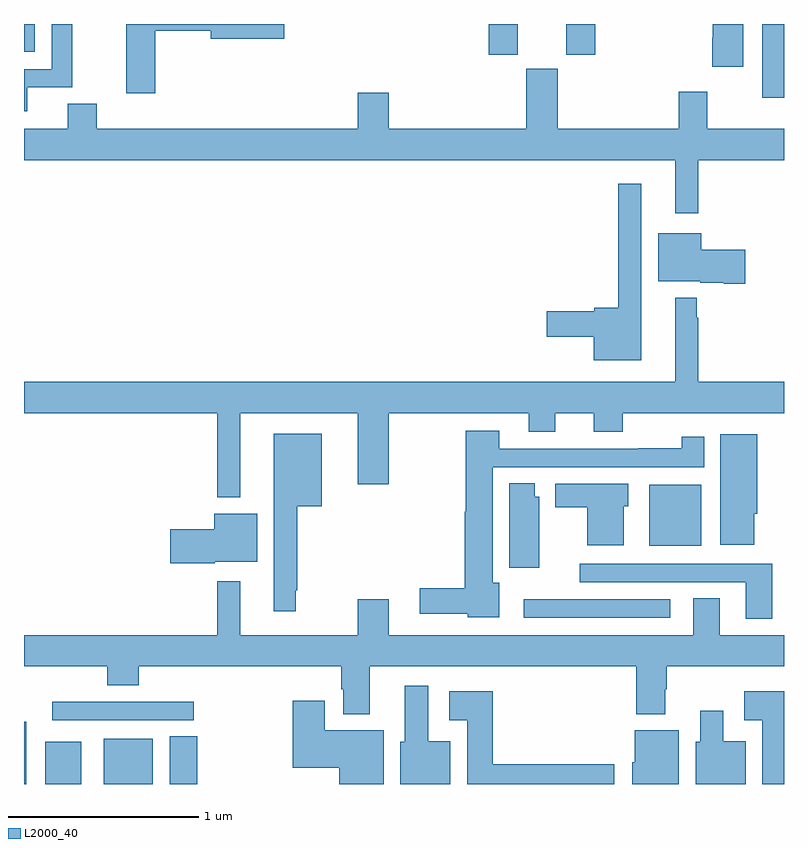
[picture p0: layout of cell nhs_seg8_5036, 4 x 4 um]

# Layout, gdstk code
import gdstk
lib = gdstk.Library(unit=1e-6, precision=1e-09)
def R(c, l, rs):  # rectangles x0, y0, x1, y1
    for r in rs: c.add(gdstk.rectangle(r[:2], r[2:], *l))
def P(c, l, *ps):  # polygons
    for p in ps: c.add(gdstk.Polygon(p, *l))
L2000_40 = (2000, 40)

nhs_seg8_5036 = lib.new_cell('nhs_seg8_5036')
R(nhs_seg8_5036, L2000_40, [(415,1095.9,415.012,1096.228), (415.112,1095.9,415.3,1096.123), (415.421,1095.9,415.678,1096.138), (415.766,1095.9,415.913,1096.151), (415.149,1096.236,415.894,1096.332), (417.63,1096.776,418.402,1096.872), (418.292,1097.153,418.564,1097.476), (418.886,1099.512,419,1099.9), (417.446,1099.737,417.598,1099.9), (417.854,1099.737,418.007,1099.9), (415,1099.754,415.057,1099.9)])
P(nhs_seg8_5036, L2000_40, [(418.786,1099.9),(418.624,1099.9),(418.624,1099.827),(418.622,1099.827),(418.622,1099.674),(418.786,1099.674)],
  [(415.016,1099.566),(415.255,1099.566),(415.255,1099.9),(415.146,1099.9),(415.146,1099.662),(415,1099.662),(415,1099.44),(415.016,1099.44)],
  [(415.691,1099.864),(415.982,1099.864),(415.982,1099.822),(416.371,1099.822),(416.371,1099.9),(415.537,1099.9),(415.537,1099.536),(415.691,1099.536)],
  [(418.549,1099.184),(419,1099.184),(419,1099.348),(418.597,1099.348),(418.597,1099.543),(418.445,1099.543),(418.445,1099.348),(417.808,1099.348),(417.808,1099.665),(417.644,1099.665),(417.644,1099.348),(416.92,1099.348),(416.92,1099.537),(416.756,1099.537),(416.756,1099.348),(415.382,1099.348),(415.382,1099.481),(415.229,1099.481),(415.229,1099.348),(415,1099.348),(415,1099.184),(418.427,1099.184),(418.427,1098.903),(418.549,1098.903)],
  [(418.249,1099.06),(418.128,1099.06),(418.128,1098.407),(418.002,1098.407),(418.002,1098.389),(417.75,1098.389),(417.75,1098.254),(417.998,1098.254),(417.998,1098.131),(418.249,1098.131)],
  [(418.795,1098.711),(418.564,1098.711),(418.564,1098.799),(418.337,1098.799),(418.337,1098.545),(418.56,1098.545),(418.56,1098.539),(418.682,1098.539),(418.682,1098.533),(418.795,1098.533)],
  [(416.137,1097.852),(416.756,1097.852),(416.756,1097.478),(416.92,1097.478),(416.92,1097.852),(417.656,1097.852),(417.656,1097.753),(417.796,1097.753),(417.796,1097.852),(417.998,1097.852),(417.998,1097.753),(418.151,1097.753),(418.151,1097.852),(419,1097.852),(419,1098.016),(418.549,1098.016),(418.549,1098.353),(418.541,1098.353),(418.541,1098.46),(418.427,1098.46),(418.427,1098.016),(415,1098.016),(415,1097.852),(416.016,1097.852),(416.016,1097.408),(416.137,1097.408)],
  [(417.502,1096.96),(417.466,1096.96),(417.466,1097.568),(418.579,1097.568),(418.579,1097.728),(418.462,1097.728),(418.462,1097.666),(418.234,1097.666),(418.234,1097.664),(417.502,1097.664),(417.502,1097.758),(417.325,1097.758),(417.325,1097.334),(417.32,1097.334),(417.32,1096.931),(417.084,1096.931),(417.084,1096.796),(417.336,1096.796),(417.336,1096.778),(417.502,1096.778)],
  [(416.429,1096.921),(416.437,1096.921),(416.437,1097.363),(416.566,1097.363),(416.566,1097.743),(416.315,1097.743),(416.315,1096.809),(416.429,1096.809)],
  [(418.843,1097.322),(418.858,1097.322),(418.858,1097.74),(418.664,1097.74),(418.664,1097.159),(418.843,1097.159)],
  [(417.712,1097.412),(417.688,1097.412),(417.688,1097.483),(417.554,1097.483),(417.554,1097.039),(417.712,1097.039)],
  [(418.156,1097.361),(418.18,1097.361),(418.18,1097.479),(417.797,1097.479),(417.797,1097.357),(417.965,1097.357),(417.965,1097.156),(418.156,1097.156)],
  [(416.004,1097.069),(416.227,1097.069),(416.227,1097.323),(416,1097.323),(416,1097.24),(415.77,1097.24),(415.77,1097.062),(416.004,1097.062)],
  [(418.939,1097.058),(417.924,1097.058),(417.924,1096.962),(418.799,1096.962),(418.799,1096.77),(418.939,1096.77)],
  [(416.821,1096.52),(418.223,1096.52),(418.223,1096.268),(418.375,1096.268),(418.375,1096.4),(418.383,1096.4),(418.383,1096.52),(419,1096.52),(419,1096.684),(418.663,1096.684),(418.663,1096.877),(418.523,1096.877),(418.523,1096.684),(416.92,1096.684),(416.92,1096.873),(416.756,1096.873),(416.756,1096.684),(416.137,1096.684),(416.137,1096.966),(416.016,1096.966),(416.016,1096.684),(415,1096.684),(415,1096.52),(415.439,1096.52),(415.439,1096.421),(415.604,1096.421),(415.604,1096.52),(416.669,1096.52),(416.669,1096.4),(416.681,1096.4),(416.681,1096.268),(416.821,1096.268)],
  [(417.244,1096.126),(417.127,1096.126),(417.127,1096.417),(417.005,1096.417),(417.005,1096.122),(416.981,1096.122),(416.981,1095.9),(417.244,1095.9)],
  [(418.107,1096.004),(417.467,1096.004),(417.467,1096.387),(417.237,1096.387),(417.237,1096.235),(417.332,1096.235),(417.332,1095.9),(418.107,1095.9)],
  [(419,1096.387),(418.791,1096.387),(418.791,1096.235),(418.886,1096.235),(418.886,1095.9),(419,1095.9)],
  [(416.893,1096.183),(416.584,1096.183),(416.584,1096.339),(416.414,1096.339),(416.414,1095.986),(416.66,1095.986),(416.66,1095.9),(416.893,1095.9)],
  [(418.798,1096.126),(418.681,1096.126),(418.681,1096.285),(418.559,1096.285),(418.559,1096.122),(418.535,1096.122),(418.535,1095.9),(418.798,1095.9)],
  [(418.447,1096.183),(418.214,1096.183),(418.214,1096.014),(418.202,1096.014),(418.202,1095.9),(418.447,1095.9)])

lib.write_gds('nhs_seg8_5036.gds')
